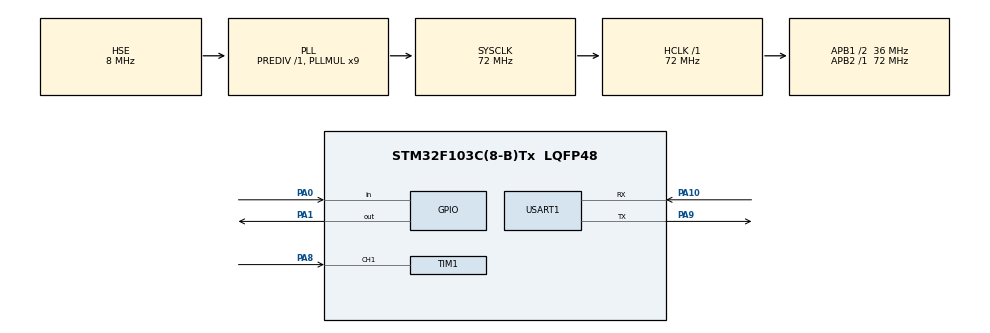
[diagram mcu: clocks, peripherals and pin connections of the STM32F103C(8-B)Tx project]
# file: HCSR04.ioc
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Mcu.Family=STM32F1
Mcu.Name=STM32F103C(8-B)Tx
Mcu.Package=LQFP48
NVIC.PriorityGroup=NVIC_PRIORITYGROUP_4
NVIC.USART1_IRQn=true\:0\:0\:false\:false\:true\:true\:true\:true
PA0-WKUP.Signal=GPIO_Input
PA1.Signal=GPIO_Output
PA10.Mode=Asynchronous
PA10.Signal=USART1_RX
PA13.Mode=Serial_Wire
PA13.Signal=SYS_JTMS-SWDIO
PA14.Mode=Serial_Wire
PA14.Signal=SYS_JTCK-SWCLK
PA8.Signal=S_TIM1_CH1
PA9.Mode=Asynchronous
PA9.Signal=USART1_TX
PD0-OSC_IN.Mode=HSE-External-Oscillator
PD0-OSC_IN.Signal=RCC_OSC_IN
PD1-OSC_OUT.Mode=HSE-External-Oscillator
PD1-OSC_OUT.Signal=RCC_OSC_OUT
ProjectManager.HeapSize=0x200
ProjectManager.StackSize=0x400
ProjectManager.TargetToolchain=STM32CubeIDE
RCC.AHBFreq_Value=72000000
RCC.APB1CLKDivider=RCC_HCLK_DIV2
RCC.APB1Freq_Value=36000000
RCC.APB1TimFreq_Value=72000000
RCC.APB2Freq_Value=72000000
RCC.APB2TimFreq_Value=72000000
RCC.HCLKFreq_Value=72000000
RCC.PLLMUL=RCC_PLL_MUL9
RCC.PLLSourceVirtual=RCC_PLLSOURCE_HSE
RCC.SYSCLKFreq_VALUE=72000000
RCC.SYSCLKSource=RCC_SYSCLKSOURCE_PLLCLK
RCC.USBFreq_Value=72000000
SH.S_TIM1_CH1.0=TIM1_CH1,Input_Capture1_from_TI1
TIM1.Channel-Input_Capture1_from_TI1=TIM_CHANNEL_1
TIM1.Prescaler=71
USART1.VirtualMode=VM_ASYNC
VP_TIM1_VS_ClockSourceINT.Mode=Internal
board=custom

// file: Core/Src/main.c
/* USER CODE BEGIN Header */
/**
 ******************************************************************************
 * @file           : main.c
 * @brief          : Main program body
 ******************************************************************************
 * @attention
 *
 * Copyright (c) 2024 STMicroelectronics.
 * All rights reserved.
 *
 * This software is licensed under terms that can be found in the LICENSE file
 * in the root directory of this software component.
 * If no LICENSE file comes with this software, it is provided AS-IS.
 *
 ******************************************************************************
 */
/* USER CODE END Header */
#include "main.h"

/* USER CODE BEGIN Includes */
#include "../../Core/Hardware_Interface/HW_Interface_HCSR04.h"
#include "../../Device_Drivers/HD44780_LCD/HD44780_LCD.h"
#include "stdio.h"

extern HCSR04_t hc;
/* USER CODE END Includes */

TIM_HandleTypeDef htim1;

UART_HandleTypeDef huart1;

void SystemClock_Config(void);
static void MX_GPIO_Init(void);
static void MX_TIM1_Init(void);
static void MX_USART1_UART_Init(void);

int main(void) {

	/* MCU Configuration--------------------------------------------------------*/

	/* Reset of all peripherals, Initializes the Flash interface and the Systick. */
	HAL_Init();

	/* Configure the system clock */
	SystemClock_Config();

	/* Initialize all configured peripherals */
	MX_GPIO_Init();
	MX_TIM1_Init();
	MX_USART1_UART_Init();
	/* USER CODE BEGIN 2 */
	GPIO_InitTypeDef G = { .Pin = TRIG_PIN, .Mode = GPIO_MODE_OUTPUT_PP,
			.Speed = GPIO_SPEED_FREQ_LOW };

	HAL_GPIO_Init(TRIG_PORT, &G);

	G.Pin = ECHO_PIN;
	G.Mode = GPIO_MODE_INPUT;
	G.Pull = GPIO_NOPULL;
	HAL_GPIO_Init(ECHO_PORT, &G);

	float dist = 0;

	char num[32];
	/* USER CODE END 2 */

	/* Infinite loop */
	while (1) {

		/* USER CODE BEGIN 3 */
		HC_SR04_ReadDistance(&hc, &dist);

		uint16_t display = sprintf(num,"Distance=%.2f cm\r\n", dist*100);
		HAL_UART_Transmit(&huart1, num, display, 100);
		HAL_Delay(100);
	}
	/* USER CODE END 3 */
}

void SystemClock_Config(void) {
	RCC_OscInitTypeDef RCC_OscInitStruct = { 0 };
	RCC_ClkInitTypeDef RCC_ClkInitStruct = { 0 };

	/** Initializes the RCC Oscillators according to the specified parameters
	 * in the RCC_OscInitTypeDef structure.
	 */
	RCC_OscInitStruct.OscillatorType = RCC_OSCILLATORTYPE_HSE;
	RCC_OscInitStruct.HSEState = RCC_HSE_ON;
	RCC_OscInitStruct.HSEPredivValue = RCC_HSE_PREDIV_DIV1;
	RCC_OscInitStruct.HSIState = RCC_HSI_ON;
	RCC_OscInitStruct.PLL.PLLState = RCC_PLL_ON;
	RCC_OscInitStruct.PLL.PLLSource = RCC_PLLSOURCE_HSE;
	RCC_OscInitStruct.PLL.PLLMUL = RCC_PLL_MUL9;
	if (HAL_RCC_OscConfig(&RCC_OscInitStruct) != HAL_OK) {
		Error_Handler();
	}

	/** Initializes the CPU, AHB and APB buses clocks
	 */
	RCC_ClkInitStruct.ClockType = RCC_CLOCKTYPE_HCLK | RCC_CLOCKTYPE_SYSCLK
			| RCC_CLOCKTYPE_PCLK1 | RCC_CLOCKTYPE_PCLK2;
	RCC_ClkInitStruct.SYSCLKSource = RCC_SYSCLKSOURCE_PLLCLK;
	RCC_ClkInitStruct.AHBCLKDivider = RCC_SYSCLK_DIV1;
	RCC_ClkInitStruct.APB1CLKDivider = RCC_HCLK_DIV2;
	RCC_ClkInitStruct.APB2CLKDivider = RCC_HCLK_DIV1;

	if (HAL_RCC_ClockConfig(&RCC_ClkInitStruct, FLASH_LATENCY_2) != HAL_OK) {
		Error_Handler();
	}
}

static void MX_TIM1_Init(void) {

	TIM_ClockConfigTypeDef sClockSourceConfig = { 0 };
	TIM_MasterConfigTypeDef sMasterConfig = { 0 };
	TIM_IC_InitTypeDef sConfigIC = { 0 };

	htim1.Instance = TIM1;
	htim1.Init.Prescaler = 71;
	htim1.Init.CounterMode = TIM_COUNTERMODE_UP;
	htim1.Init.Period = 65535;
	htim1.Init.ClockDivision = TIM_CLOCKDIVISION_DIV1;
	htim1.Init.RepetitionCounter = 0;
	htim1.Init.AutoReloadPreload = TIM_AUTORELOAD_PRELOAD_DISABLE;
	if (HAL_TIM_Base_Init(&htim1) != HAL_OK) {
		Error_Handler();
	}
	sClockSourceConfig.ClockSource = TIM_CLOCKSOURCE_INTERNAL;
	if (HAL_TIM_ConfigClockSource(&htim1, &sClockSourceConfig) != HAL_OK) {
		Error_Handler();
	}
	if (HAL_TIM_IC_Init(&htim1) != HAL_OK) {
		Error_Handler();
	}
	sMasterConfig.MasterOutputTrigger = TIM_TRGO_RESET;
	sMasterConfig.MasterSlaveMode = TIM_MASTERSLAVEMODE_DISABLE;
	if (HAL_TIMEx_MasterConfigSynchronization(&htim1, &sMasterConfig)
			!= HAL_OK) {
		Error_Handler();
	}
	sConfigIC.ICPolarity = TIM_INPUTCHANNELPOLARITY_RISING;
	sConfigIC.ICSelection = TIM_ICSELECTION_DIRECTTI;
	sConfigIC.ICPrescaler = TIM_ICPSC_DIV1;
	sConfigIC.ICFilter = 0;
	if (HAL_TIM_IC_ConfigChannel(&htim1, &sConfigIC, TIM_CHANNEL_1) != HAL_OK) {
		Error_Handler();
	}

}

static void MX_USART1_UART_Init(void) {

	huart1.Instance = USART1;
	huart1.Init.BaudRate = 115200;
	huart1.Init.WordLength = UART_WORDLENGTH_8B;
	huart1.Init.StopBits = UART_STOPBITS_1;
	huart1.Init.Parity = UART_PARITY_NONE;
	huart1.Init.Mode = UART_MODE_TX_RX;
	huart1.Init.HwFlowCtl = UART_HWCONTROL_NONE;
	huart1.Init.OverSampling = UART_OVERSAMPLING_16;
	if (HAL_UART_Init(&huart1) != HAL_OK) {
		Error_Handler();
	}

}

static void MX_GPIO_Init(void) {

	/* GPIO Ports Clock Enable */
	__HAL_RCC_GPIOD_CLK_ENABLE();
	__HAL_RCC_GPIOA_CLK_ENABLE();

}

void Error_Handler(void) {
	__disable_irq();
	while (1) {
	}
}
